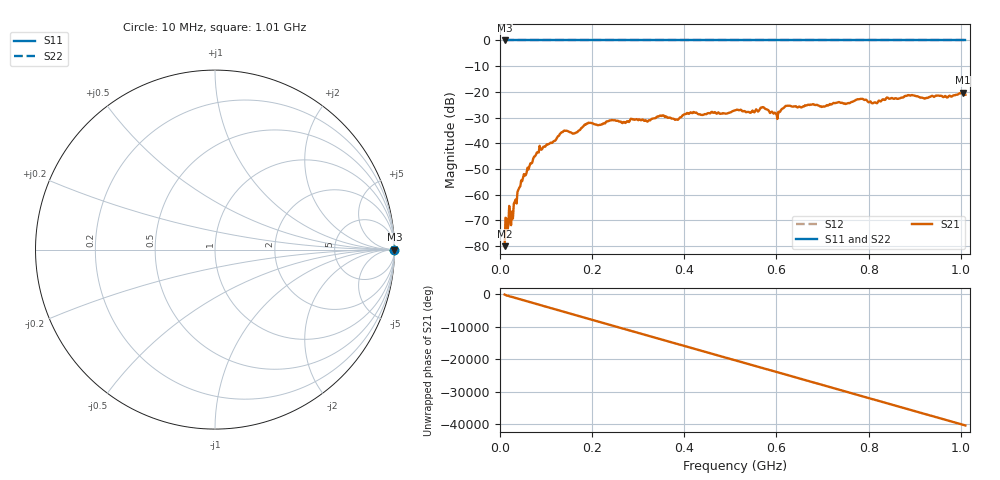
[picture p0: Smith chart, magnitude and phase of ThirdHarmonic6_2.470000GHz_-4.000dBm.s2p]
! 8/17/2025 4:32:11 AM
! C:\ANRITSUVNA\TEMP\TEMP.S2P
! CHANNEL.1
! TR.MEASUREMENT
! RAW.DATA
! RF.CORRECTION.OFF
! AVERAGING.OFF
! IF.BANDWIDTH: 5KHZ
! SWEEPTYPE:  FREQ.SWEEP(Linear)
! Reference Plane Port Info
! PORT:  PORT1  PORT2
! DISTANCE:  0  m  0  m
! TIME:  0  s  0  s
! PHASE.OFFSET:  0  deg.  0  deg.
! LOSS:  0  dB  0  dB
! REF.LOSS:  0  dB  0  dB
! REF.FREQ:  0  Hz  0  Hz
! Power Info
! POWER:  -20  dBm  -20  dBm
! EFF.POWER:  -20  dBm  -20  dBm
! SOURCE.ATTEN:  0  dB  0  dB
! TEST.ATTEN:  0  dB  0  dB
# GHZ S RI R 50.0
! FREQ.GHZ  S11RE  S11IM  S21RE  S21IM  S12RE  S12IM  S22RE  S22IM
!; PortSelection: Port_12
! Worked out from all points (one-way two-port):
!   501 points, 10 MHz to 1.01 GHz, reference 50 ohm
!   highest |S21| = -20.35 dB at 1.004 GHz (marker M1); lowest = -80.0 dB at 10 MHz (marker M2)
!   lowest |S11| = 0.0 dB at 10 MHz (marker M3)
!   |S11| at or under -10 dB: nowhere
!   |S22| runs from 0.0 to 0.0 dB; largest |S21 - S12| = 1.1
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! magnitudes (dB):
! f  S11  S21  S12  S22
! 10 MHz  0.0  -80.0  0.0  0.0
! 16 MHz  0.0  -73.7  0.0  0.0
! 26 MHz  0.0  -66.6  0.0  0.0
! 48 MHz  0.0  -54.8  0.0  0.0
! 82 MHz  0.0  -43.5  0.0  0.0
! 136 MHz  0.0  -35.7  0.0  0.0
! 162 MHz  0.0  -36.1  0.0  0.0
! 178 MHz  0.0  -33.9  0.0  0.0
! 192 MHz  0.0  -32.0  0.0  0.0
! 322 MHz  0.0  -31.2  0.0  0.0
! 344 MHz  0.0  -29.6  0.0  0.0
! 384 MHz  0.0  -30.8  0.0  0.0
! 410 MHz  0.0  -28.6  0.0  0.0
! 510 MHz  0.0  -27.2  0.0  0.0
! 570 MHz  0.0  -25.9  0.0  0.0
! 598 MHz  0.0  -28.3  0.0  0.0
! 622 MHz  0.0  -25.5  0.0  0.0
! 678 MHz  0.0  -24.9  0.0  0.0
! 814 MHz  0.0  -24.1  0.0  0.0
! 844 MHz  0.0  -22.7  0.0  0.0
! 1.004 GHz  0.0  -20.3  0.0  0.0
! 1.01 GHz  0.0  -21.1  0.0  0.0
